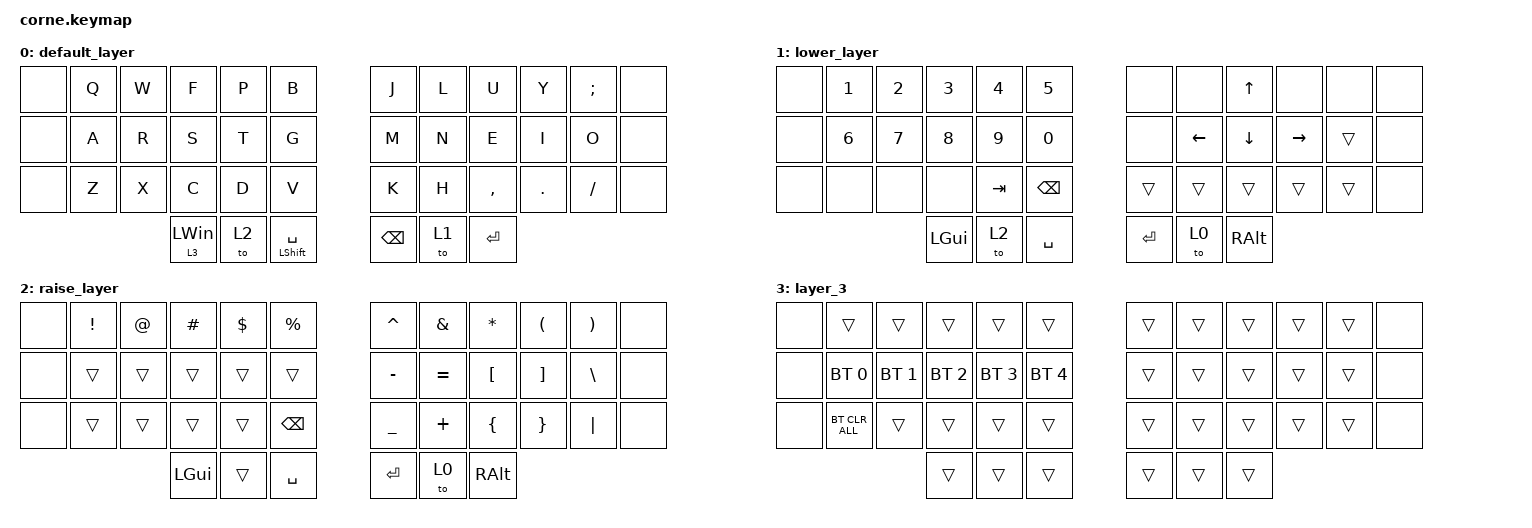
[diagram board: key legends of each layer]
/*
 * Copyright (c) 2020 The ZMK Contributors
 *
 * SPDX-License-Identifier: MIT
 */

#include <behaviors.dtsi>
#include <dt-bindings/zmk/bt.h>
#include <dt-bindings/zmk/keys.h>
#include <dt-bindings/zmk/keys.h>

/ {
    behaviors {
        Tapdance: Tapdance {
            compatible = "zmk,behavior-hold-tap";
            label = "TAPDANCE";
            bindings = <&kt>, <&kp>;

            #binding-cells = <2>;
            tapping-term-ms = <200>;
            flavor = "tap-preferred";
        };
    };

    keymap {
        compatible = "zmk,keymap";

        default_layer {
            // -----------------------------------------------------------------------------------------
            // |  TAB |  Q  |  W  |  E  |  R  |  T  |   |  Y  |  U   |  I  |  O  |  P  | BSPC |
            // | CTRL |  A  |  S  |  D  |  F  |  G  |   |  H  |  J   |  K  |  L  |  ;  |  '   |
            // | SHFT |  Z  |  X  |  C  |  V  |  B  |   |  N  |  M   |  ,  |  .  |  /  | ESC  |
            //                    | GUI | LWR | SPC |   | ENT | RSE  | ALT |

            bindings = <
&none  &kp Q  &kp W  &kp F           &kp P  &kp B                   &kp J          &kp L  &kp U      &kp Y    &kp SEMICOLON  &none
&none  &kp A  &kp R  &kp S           &kp T  &kp G                   &kp M          &kp N  &kp E      &kp I    &kp O          &none
&none  &kp Z  &kp X  &kp C           &kp D  &kp V                   &kp K          &kp H  &kp COMMA  &kp DOT  &kp FSLH       &none
                     &lt 3 LEFT_WIN  &to 2  &mt LEFT_SHIFT SPACE    &kp BACKSPACE  &to 1  &kp ENTER
            >;
        };

        lower_layer {
            // -----------------------------------------------------------------------------------------
            // |  TAB |  1  |  2  |  3  |  4  |  5  |   |  6  |  7  |  8  |  9  |  0  | BSPC |
            // | BTCLR| BT1 | BT2 | BT3 | BT4 | BT5 |   | LFT | DWN |  UP | RGT |     |      |
            // | SHFT |     |     |     |     |     |   |     |     |     |     |     |      |
            //                    | GUI |     | SPC |   | ENT |     | ALT |

            bindings = <
&none  &kp N1        &kp N2  &kp N3    &kp N4   &kp N5           &none    &none           &kp UP_ARROW    &none      &none   &none
&none  &kp NUMBER_6  &kp N7  &kp N8    &kp N9   &kp N0           &none    &kp LEFT_ARROW  &kp DOWN_ARROW  &kp RIGHT  &trans  &none
&none  &none         &none   &none     &kp TAB  &kp BACKSPACE    &trans   &trans          &trans          &trans     &trans  &none
                             &kp LGUI  &to 2    &kp SPACE        &kp RET  &to 0           &kp RALT
            >;
        };

        raise_layer {
            // -----------------------------------------------------------------------------------------
            // |  TAB |  !  |  @  |  #  |  $  |  %  |   |  ^  |  &  |  *  |  (  |  )  | BSPC |
            // | CTRL |     |     |     |     |     |   |  -  |  =  |  [  |  ]  |  \  |  `   |
            // | SHFT |     |     |     |     |     |   |  _  |  +  |  {  |  }  | "|" |  ~   |
            //                    | GUI |     | SPC |   | ENT |     | ALT |

            bindings = <
&none  &kp EXCL  &kp AT  &kp HASH  &kp DLLR  &kp PRCNT        &kp CARET  &kp AMPS   &kp ASTRK  &kp LPAR  &kp RPAR  &none
&none  &trans    &trans  &trans    &trans    &trans           &kp MINUS  &kp EQUAL  &kp LBKT   &kp RBKT  &kp BSLH  &none
&none  &trans    &trans  &trans    &trans    &kp BACKSPACE    &kp UNDER  &kp PLUS   &kp LBRC   &kp RBRC  &kp PIPE  &none
                         &kp LGUI  &trans    &kp SPACE        &kp RET    &to 0      &kp RALT
            >;
        };

        layer_3 {
            bindings = <
&none  &trans          &trans        &trans        &trans        &trans          &trans  &trans  &trans  &trans  &trans  &none
&none  &bt BT_SEL 0    &bt BT_SEL 1  &bt BT_SEL 2  &bt BT_SEL 3  &bt BT_SEL 4    &trans  &trans  &trans  &trans  &trans  &none
&none  &bt BT_CLR_ALL  &trans        &trans        &trans        &trans          &trans  &trans  &trans  &trans  &trans  &none
                                     &trans        &trans        &trans          &trans  &trans  &trans
            >;
        };
    };
};
